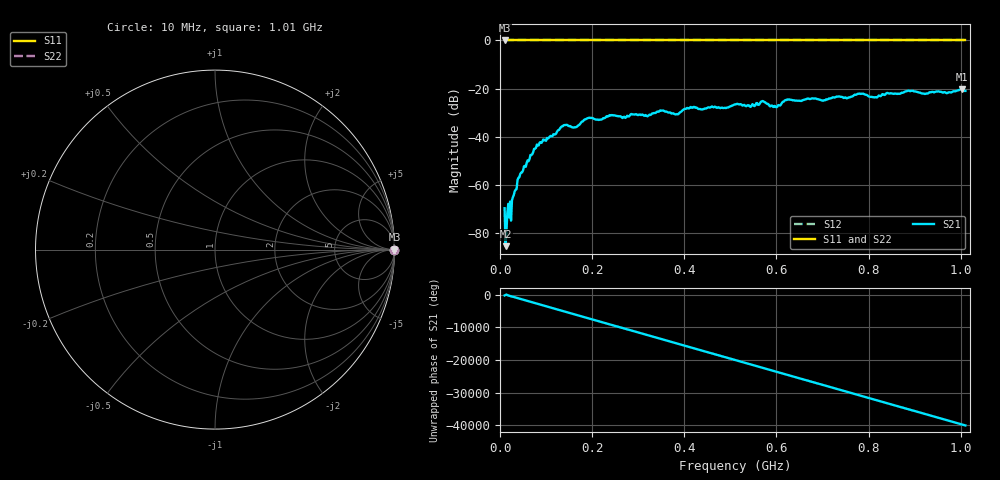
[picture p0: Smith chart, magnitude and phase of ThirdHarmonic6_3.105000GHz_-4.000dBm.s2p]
! 8/17/2025 9:10:12 AM
! C:\ANRITSUVNA\TEMP\TEMP.S2P
! CHANNEL.1
! TR.MEASUREMENT
! RAW.DATA
! RF.CORRECTION.OFF
! AVERAGING.OFF
! IF.BANDWIDTH: 5KHZ
! SWEEPTYPE:  FREQ.SWEEP(Linear)
! Reference Plane Port Info
! PORT:  PORT1  PORT2
! DISTANCE:  0  m  0  m
! TIME:  0  s  0  s
! PHASE.OFFSET:  0  deg.  0  deg.
! LOSS:  0  dB  0  dB
! REF.LOSS:  0  dB  0  dB
! REF.FREQ:  0  Hz  0  Hz
! Power Info
! POWER:  -20  dBm  -20  dBm
! EFF.POWER:  -20  dBm  -20  dBm
! SOURCE.ATTEN:  0  dB  0  dB
! TEST.ATTEN:  0  dB  0  dB
# GHZ S RI R 50.0
! FREQ.GHZ  S11RE  S11IM  S21RE  S21IM  S12RE  S12IM  S22RE  S22IM
!; PortSelection: Port_12
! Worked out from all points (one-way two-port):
!   501 points, 10 MHz to 1.01 GHz, reference 50 ohm
!   highest |S21| = -20.26 dB at 1.002 GHz (marker M1); lowest = -85.4 dB at 12 MHz (marker M2)
!   lowest |S11| = 0.0 dB at 10 MHz (marker M3)
!   |S11| at or under -10 dB: nowhere
!   |S22| runs from 0.0 to 0.0 dB; largest |S21 - S12| = 1.1
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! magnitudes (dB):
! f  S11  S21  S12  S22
! 10 MHz  0.0  -69.7  0.0  0.0
! 12 MHz  0.0  -85.4  0.0  0.0
! 16 MHz  0.0  -71.4  0.0  0.0
! 18 MHz  0.0  -67.9  0.0  0.0
! 42 MHz  0.0  -56.8  0.0  0.0
! 78 MHz  0.0  -44.6  0.0  0.0
! 136 MHz  0.0  -35.7  0.0  0.0
! 162 MHz  0.0  -36.0  0.0  0.0
! 178 MHz  0.0  -33.7  0.0  0.0
! 344 MHz  0.0  -29.6  0.0  0.0
! 384 MHz  0.0  -30.6  0.0  0.0
! 410 MHz  0.0  -28.2  0.0  0.0
! 510 MHz  0.0  -26.5  0.0  0.0
! 570 MHz  0.0  -25.1  0.0  0.0
! 598 MHz  0.0  -27.5  0.0  0.0
! 624 MHz  0.0  -24.5  0.0  0.0
! 678 MHz  0.0  -24.1  0.0  0.0
! 782 MHz  0.0  -22.2  0.0  0.0
! 814 MHz  0.0  -23.5  0.0  0.0
! 844 MHz  0.0  -22.1  0.0  0.0
! 1.002 GHz  0.0  -20.3  0.0  0.0
! 1.01 GHz  0.0  -21.0  0.0  0.0
